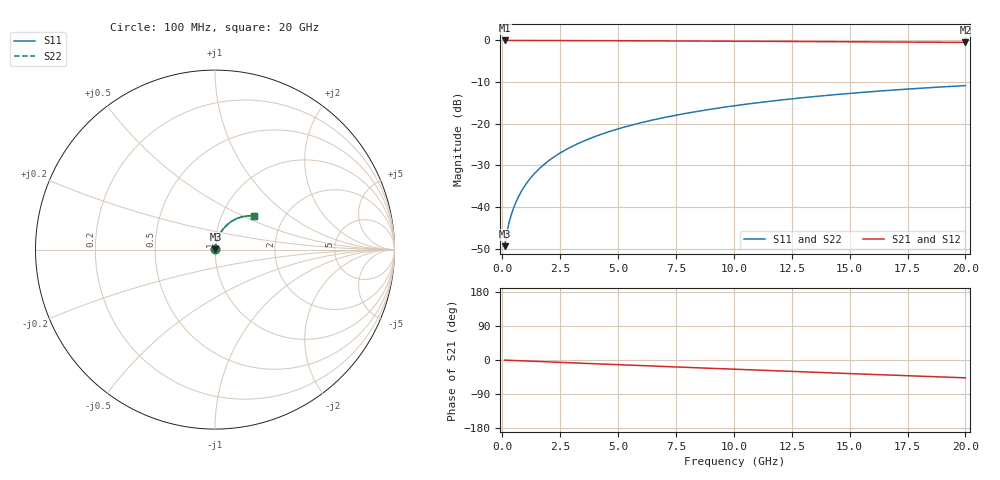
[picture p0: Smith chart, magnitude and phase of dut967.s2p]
! Touchstone file exported from HFSS 2026.1.0
!  File:  C:/ffzhzh/LocalFiles/Ansys_Project_Files/temp_train_TMRDL_967_1783158964_18472.aedt
!  Generated:  05:57:25 PM Jul  4, 2026
!  Design:  TMRDL
!  Project:  temp_train_TMRDL_967_1783158964_18472
! Variables:
!  h_bsmrdl = 2um
!  h_ox = 20um
!  h_rdl = 5um
!  h_sub = 80um
!  h_tmrdl = 3.94um
!  h_tsv = 80um
!  h_via = 3um
!  l_bsmrdl = 300um
!  l_sub = 1166.31um
!  l_tmrdl = 766.31um
!  m_sub = 200um
!  pitch = 46.36um
!  r_tsv = 6um
!  s_tmrdl = 10um
!  w_bsmrdl = 18um
!  w_sub = 500um
!  w_tmrdl = 29.47um
!  x_tsv_center1 = 781.045um
!  x_tsv_center2 = 1099.045um
!  x_tsv_center3 = 1894.825um
!  x_tsv_center4 = 2212.825um
!  x_tsv_center5 = 3008.605um
!  x_tsv_center6 = 3326.605um
# GHz S MA R 50.000000
! Terminal data exported
! Port[1] = TM_RDL1_1_T1
! Port[2] = TM_RDL1_1_T2
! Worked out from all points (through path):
!   200 points, 100 MHz to 20 GHz, reference 50 ohm
!   highest |S21| = -0.02 dB at 100 MHz (marker M1); lowest = -0.5 dB at 20 GHz (marker M2)
!   group delay of S21, straight-line fit = 6.53 ps
!   lowest |S11| = -49.4 dB at 100 MHz (marker M3), VSWR 1.01, Z = 50.3 + j0.215 ohm
!   |S11| at or under -10 dB: start of sweep to end of sweep
!   |S22| runs from -49.4 to -10.9 dB; largest |S21 - S12| = 2.8e-15
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0.1  0.003394 39.1  0.9974 -0.3  0.9974 -0.3  0.003394 39.1
! Gamma 0 0 0 0
! Port Impedance 50 0 50 0
0.2  0.005011 54.2  0.9971 -0.5  0.9971 -0.5  0.005011 54.2
0.3  0.006658 61.4  0.9969 -0.8  0.9969 -0.8  0.006658 61.4
0.4  0.008298 65.9  0.9967 -1.0  0.9967 -1.0  0.008298 65.9
0.5  0.009952 69.0  0.9966 -1.3  0.9966 -1.3  0.009952 69.0
0.6  0.01163 71.3  0.9965 -1.5  0.9965 -1.5  0.01163 71.3
0.8  0.01502 74.4  0.9964 -2.0  0.9964 -2.0  0.01503 74.3
1.1  0.02021 76.8  0.9961 -2.8  0.9961 -2.8  0.02021 76.8
1.3  0.02369 77.6  0.996 -3.3  0.996 -3.3  0.02369 77.6
1.6  0.02892 78.2  0.9957 -4.0  0.9957 -4.0  0.02892 78.2
2.1  0.03763 78.4  0.9951 -5.2  0.9951 -5.2  0.03763 78.4
2.7  0.04801 77.8  0.9943 -6.7  0.9943 -6.7  0.04801 77.8
3.5  0.06167 76.5  0.993 -8.7  0.993 -8.7  0.06168 76.5
4.2  0.07344 75.2  0.9917 -10.4  0.9917 -10.4  0.07345 75.2
5  0.08668 73.5  0.99 -12.3  0.99 -12.3  0.08668 73.5
5.9  0.1013 71.6  0.988 -14.5  0.988 -14.5  0.1013 71.6
6.8  0.1156 69.6  0.9858 -16.7  0.9858 -16.7  0.1156 69.6
8.3  0.1387 66.3  0.9819 -20.3  0.9819 -20.3  0.1387 66.2
10.1  0.1653 62.3  0.9769 -24.5  0.9769 -24.5  0.1653 62.2
13.4  0.2106 55.0  0.9669 -32.2  0.9669 -32.2  0.2107 54.9
16.7  0.2512 47.8  0.9564 -39.7  0.9564 -39.7  0.2513 47.7
20  0.2866 40.7  0.9459 -47.1  0.9459 -47.1  0.2866 40.6
